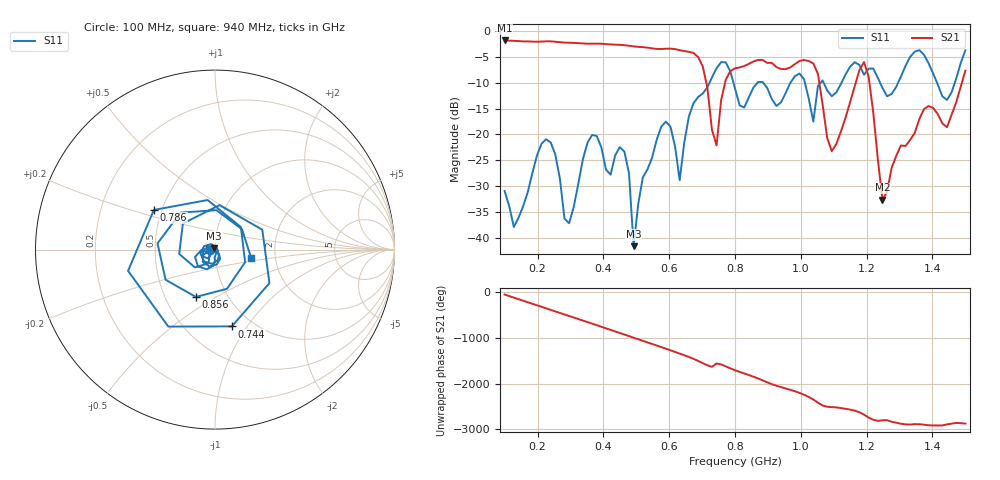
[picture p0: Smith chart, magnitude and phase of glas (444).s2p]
! NanoVNA-App
! Date: 2025-09-25 15:58:56
! Start: 100MHz Stop: 1,5GHz Points: 101
! S-Parameter data: F S11 S21 S12 S22
# Hz S RI R 50
!  Frequency  S11_Real  S11_Imag  S21_Real  S21_Imag  S12_Real  S12_Imag  S22_Real  S22_Imag
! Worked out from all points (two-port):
!   101 points, 100 MHz to 1.5 GHz, reference 50 ohm
!   highest |S21| = -1.80 dB at 100 MHz (marker M1); lowest = -32.6 dB at 1.248 GHz (marker M2)
!   |S21| within 3 dB of the highest: start of sweep to 684.4 MHz
!   lowest |S11| = -41.6 dB at 492 MHz (marker M3), VSWR 1.02, Z = 49.5 + j0.652 ohm
!   |S11| at or under -10 dB: start of sweep to 722.4 MHz; 795.3 MHz to 867.8 MHz (72.47 MHz wide, 8.71 % of centre); 885.9 MHz to 968 MHz (82.11 MHz wide, 8.86 % of centre) (the widest 3 of 7)
!   S12 and S22 are empty: the file has one direction only
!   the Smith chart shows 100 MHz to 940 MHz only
!   S11 on the Smith chart (normalised r, x): 100 MHz: 0.95, -0.01; 744 MHz: 0.80, -0.85; 786 MHz: 0.45, +0.24; 856 MHz: 0.71, -0.41; 940 MHz: 1.49, -0.14
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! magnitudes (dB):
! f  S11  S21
! 100 MHz  -30.9  -1.8
! 128 MHz  -37.9  -1.9
! 226 MHz  -20.9  -2.0
! 296 MHz  -37.2  -2.2
! 338 MHz  -24.7  -2.4
! 464 MHz  -23.3  -2.7
! 492 MHz  -41.6  -2.9
! 576 MHz  -18.5  -3.5
! 632 MHz  -28.8  -3.7
! 702 MHz  -12.1  -6.8
! 744 MHz  -7.2  -22.1
! 786 MHz  -7.8  -7.7
! 800 MHz  -11.1  -7.2
! 856 MHz  -10.9  -5.9
! 940 MHz  -13.7  -7.3
! 996 MHz  -8.2  -5.8
! 1.038 GHz  -17.5  -6.3
! 1.094 GHz  -12.6  -23.2
! 1.192 GHz  -8.4  -6.0
! 1.248 GHz  -11.0  -32.6
! 1.276 GHz  -12.2  -26.4
! 1.5 GHz  -3.7  -7.6
